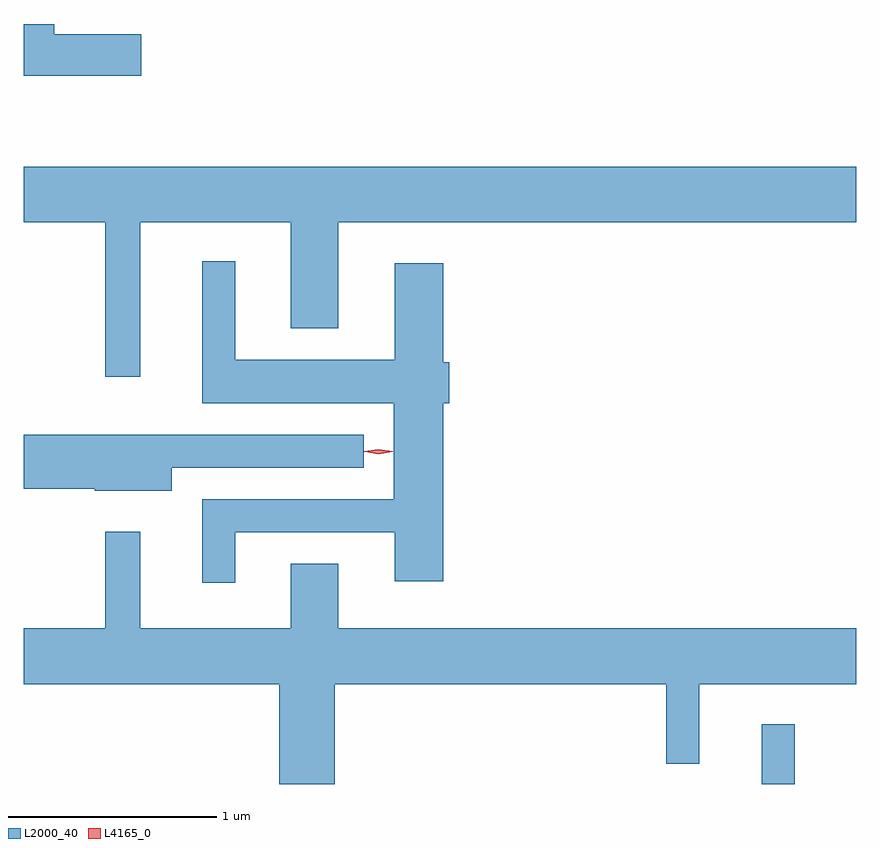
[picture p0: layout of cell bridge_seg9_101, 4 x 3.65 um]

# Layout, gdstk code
import gdstk
lib = gdstk.Library(unit=1e-6, precision=1e-09)
def R(c, l, rs):  # rectangles x0, y0, x1, y1
    for r in rs: c.add(gdstk.rectangle(r[:2], r[2:], *l))
def P(c, l, *ps):  # polygons
    for p in ps: c.add(gdstk.Polygon(p, *l))
L2000_40 = (2000, 40)
L4165_0 = (4165, 0)

bridge_seg9_101 = lib.new_cell('bridge_seg9_101')
R(bridge_seg9_101, L2000_40, [(1746.976,1969.136,1747.134,1969.423)])
P(bridge_seg9_101, L2000_40, [(1743.994,1972.739),(1743.574,1972.739),(1743.574,1972.789),(1743.429,1972.789),(1743.429,1972.541),(1743.994,1972.541)],
  [(1743.989,1971.836),(1744.711,1971.836),(1744.711,1971.326),(1744.939,1971.326),(1744.939,1971.836),(1747.429,1971.836),(1747.429,1972.104),(1743.429,1972.104),(1743.429,1971.836),(1743.821,1971.836),(1743.821,1971.093),(1743.989,1971.093)],
  [(1744.444,1970.346),(1745.211,1970.346),(1745.211,1970.111),(1745.444,1970.111),(1745.444,1970.966),(1745.474,1970.966),(1745.474,1971.164),(1745.444,1971.164),(1745.444,1971.639),(1745.211,1971.639),(1745.211,1971.174),(1744.444,1971.174),(1744.444,1971.648),(1744.286,1971.648),(1744.286,1970.966),(1745.206,1970.966),(1745.206,1970.504),(1744.286,1970.504),(1744.286,1970.103),(1744.444,1970.103)],
  [(1744.139,1970.656),(1745.063,1970.656),(1745.063,1970.814),(1743.429,1970.814),(1743.429,1970.556),(1743.77,1970.556),(1743.77,1970.546),(1744.139,1970.546)],
  [(1744.924,1969.616),(1746.516,1969.616),(1746.516,1969.233),(1746.674,1969.233),(1746.674,1969.616),(1747.429,1969.616),(1747.429,1969.884),(1744.939,1969.884),(1744.939,1970.194),(1744.711,1970.194),(1744.711,1969.884),(1743.989,1969.884),(1743.989,1970.348),(1743.821,1970.348),(1743.821,1969.884),(1743.429,1969.884),(1743.429,1969.616),(1744.656,1969.616),(1744.656,1969.136),(1744.924,1969.136)])
P(bridge_seg9_101, L4165_0, [(1745.133,1970.725),(1745.064,1970.734),(1745.064,1970.735),(1745.064,1970.735),(1745.133,1970.745),(1745.202,1970.735),(1745.203,1970.735),(1745.202,1970.734)],
  [(1745.134,1970.722),(1745.068,1970.732),(1745.067,1970.732),(1745.068,1970.733),(1745.134,1970.742),(1745.199,1970.733),(1745.2,1970.732),(1745.199,1970.732)])

lib.write_gds('bridge_seg9_101.gds')
